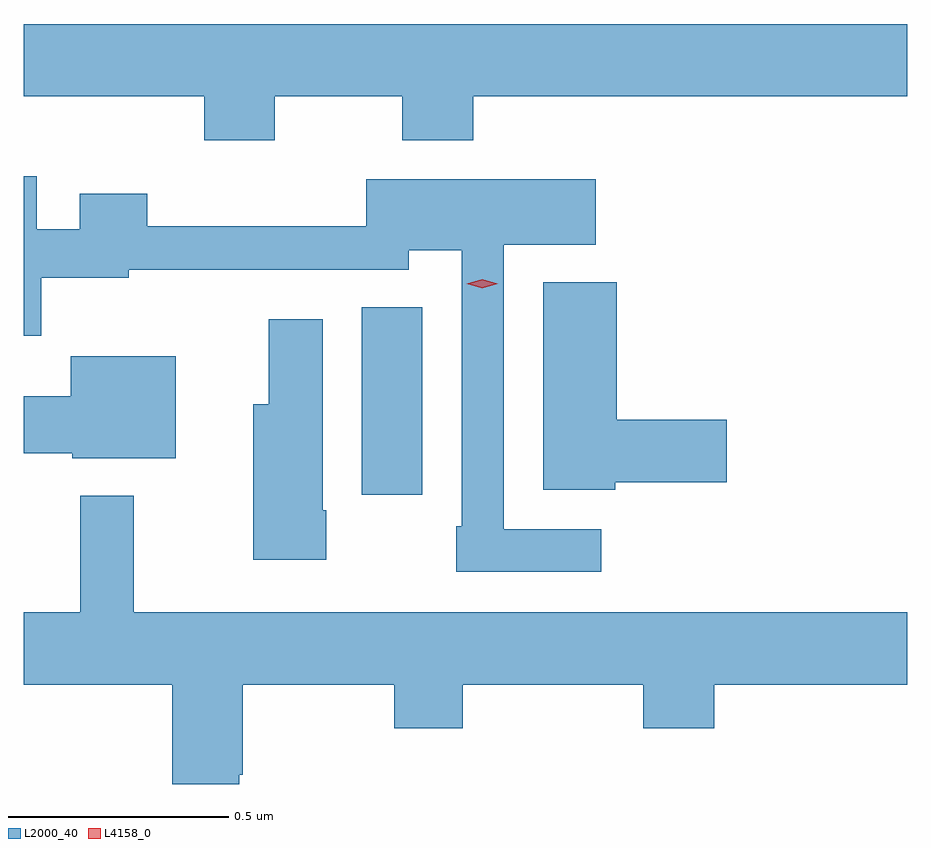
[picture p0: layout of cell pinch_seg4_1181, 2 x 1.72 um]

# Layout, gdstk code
import gdstk
lib = gdstk.Library(unit=1e-6, precision=1e-09)
def R(c, l, rs):  # rectangles x0, y0, x1, y1
    for r in rs: c.add(gdstk.rectangle(r[:2], r[2:], *l))
def P(c, l, *ps):  # polygons
    for p in ps: c.add(gdstk.Polygon(p, *l))
L2000_40 = (2000, 40)
L4158_0 = (4158, 0)

pinch_seg4_1181 = lib.new_cell('pinch_seg4_1181')
R(pinch_seg4_1181, L2000_40, [(402.89,783.93,403.027,784.355)])
P(pinch_seg4_1181, L2000_40, [(402.693,784.832),(402.982,784.832),(402.982,784.733),(403.142,784.733),(403.142,784.832),(404.125,784.832),(404.125,784.996),(402.125,784.996),(402.125,784.832),(402.533,784.832),(402.533,784.733),(402.693,784.733)],
  [(403.432,783.852),(403.212,783.852),(403.212,784.496),(403.42,784.496),(403.42,784.645),(402.9,784.645),(402.9,784.538),(402.404,784.538),(402.404,784.612),(402.251,784.612),(402.251,784.531),(402.154,784.531),(402.154,784.651),(402.125,784.651),(402.125,784.29),(402.164,784.29),(402.164,784.421),(402.363,784.421),(402.363,784.439),(402.584,784.439),(402.584,784.44),(402.996,784.44),(402.996,784.484),(403.116,784.484),(403.116,783.859),(403.104,783.859),(403.104,783.756),(403.432,783.756)],
  [(403.464,783.958),(403.717,783.958),(403.717,784.1),(403.468,784.1),(403.468,784.411),(403.301,784.411),(403.301,783.941),(403.464,783.941)],
  [(402.81,783.895),(402.802,783.895),(402.802,784.327),(402.68,784.327),(402.68,784.135),(402.644,784.135),(402.644,783.783),(402.81,783.783)],
  [(402.469,784.244),(402.231,784.244),(402.231,784.153),(402.125,784.153),(402.125,784.024),(402.234,784.024),(402.234,784.013),(402.469,784.013)],
  [(402.613,783.296),(402.621,783.296),(402.621,783.5),(402.964,783.5),(402.964,783.401),(403.119,783.401),(403.119,783.5),(403.528,783.5),(403.528,783.401),(403.688,783.401),(403.688,783.5),(404.125,783.5),(404.125,783.664),(402.374,783.664),(402.374,783.928),(402.253,783.928),(402.253,783.664),(402.125,783.664),(402.125,783.5),(402.461,783.5),(402.461,783.275),(402.613,783.275)])
P(pinch_seg4_1181, L4158_0, [(403.163,784.398),(403.128,784.408),(403.128,784.408),(403.128,784.408),(403.163,784.418),(403.198,784.408),(403.198,784.408),(403.198,784.408)])

lib.write_gds('pinch_seg4_1181.gds')
